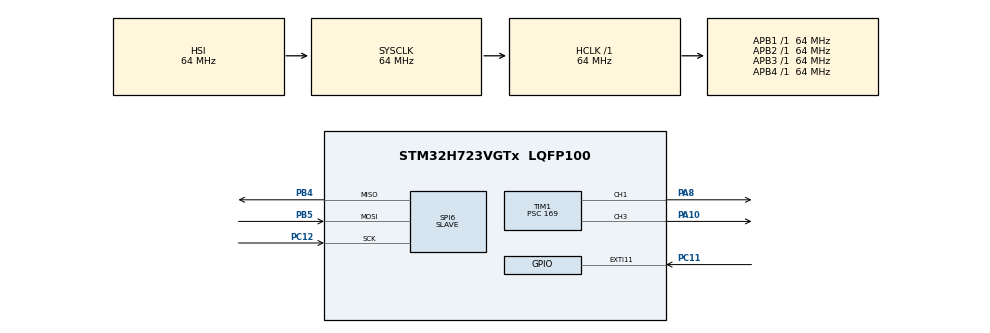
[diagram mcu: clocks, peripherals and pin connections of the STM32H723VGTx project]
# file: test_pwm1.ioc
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CORTEX_M7.default_mode_Activation=1
Mcu.Family=STM32H7
Mcu.Name=STM32H723VGTx
Mcu.Package=LQFP100
NVIC.EXTI15_10_IRQn=true\:0\:0\:false\:false\:true\:true\:true\:true
NVIC.PriorityGroup=NVIC_PRIORITYGROUP_4
NVIC.SPI6_IRQn=true\:0\:0\:false\:false\:true\:true\:true\:true
PA10.Signal=S_TIM1_CH3
PA8.Signal=S_TIM1_CH1
PB4(NJTRST).Mode=Full_Duplex_Slave
PB4(NJTRST).Signal=SPI6_MISO
PB5.Mode=Full_Duplex_Slave
PB5.Signal=SPI6_MOSI
PC11.GPIO_ModeDefaultEXTI=GPIO_MODE_IT_FALLING
PC11.GPIO_PuPd=GPIO_PULLUP
PC11.Signal=GPXTI11
PC12.Mode=Full_Duplex_Slave
PC12.Signal=SPI6_SCK
ProjectManager.HeapSize=0x200
ProjectManager.StackSize=0x400
ProjectManager.TargetToolchain=STM32CubeIDE
RCC.ADCFreq_Value=129000000
RCC.APB1Freq_Value=64000000
RCC.APB2Freq_Value=64000000
RCC.APB3Freq_Value=64000000
RCC.APB4Freq_Value=64000000
RCC.CortexFreq_Value=64000000
RCC.HCLKFreq_Value=64000000
RCC.SYSCLKFreq_VALUE=64000000
RCC.USBFreq_Value=129000000
SH.S_TIM1_CH1.0=TIM1_CH1,PWM Generation1 CH1
SH.S_TIM1_CH3.0=TIM1_CH3,PWM Generation3 CH3
SPI6.DataSize=SPI_DATASIZE_8BIT
SPI6.Direction=SPI_DIRECTION_2LINES
SPI6.Mode=SPI_MODE_SLAVE
SPI6.VirtualType=VM_SLAVE
TIM1.Channel-PWM\ Generation1\ CH1=TIM_CHANNEL_1
TIM1.Channel-PWM\ Generation3\ CH3=TIM_CHANNEL_3
TIM1.Period=999
TIM1.Prescaler=169
TIM1.Pulse-PWM\ Generation3\ CH3=500
VP_MEMORYMAP_VS_MEMORYMAP.Mode=CurAppReg
board=custom

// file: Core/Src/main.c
/* USER CODE BEGIN Header */
/**
  ******************************************************************************
  * @file           : main.c
  * @brief          : Main program body
  ******************************************************************************
  * @attention
  *
  * Copyright (c) 2025 STMicroelectronics.
  * All rights reserved.
  *
  * This software is licensed under terms that can be found in the LICENSE file
  * in the root directory of this software component.
  * If no LICENSE file comes with this software, it is provided AS-IS.
  *
  ******************************************************************************
  */
/* USER CODE END Header */
#include "main.h"

SPI_HandleTypeDef hspi6;

TIM_HandleTypeDef htim1;

void SystemClock_Config(void);
static void MPU_Config(void);
static void MX_GPIO_Init(void);
static void MX_SPI6_Init(void);
static void MX_TIM1_Init(void);

/* USER CODE BEGIN 0 */

// Buffer de 2 bytes: [comando, valor]
uint8_t spi_rx_buf[3];
uint8_t spi_tx_buf[3] = {0xFF, 0xFF, 0xFF};  // respuesta que mandaremos

// Opcional: guarda último duty y freq

uint8_t  duty_ch1 = 50;   // PA8 duty default
uint8_t  duty_ch3 = 50;   // PA10 duty default

uint8_t last_duty = 50;  // 50% por defecto
uint16_t last_freq = 1000;   // 1 kHz por defecto

/* USER CODE END 0 */

int main(void)
{

  /* MPU Configuration--------------------------------------------------------*/
  MPU_Config();

  /* MCU Configuration--------------------------------------------------------*/

  /* Reset of all peripherals, Initializes the Flash interface and the Systick. */
  HAL_Init();

  /* Configure the system clock */
  SystemClock_Config();

  /* Initialize all configured peripherals */
  MX_GPIO_Init();
  MX_SPI6_Init();
  MX_TIM1_Init();
  /* USER CODE BEGIN 2 */
  //HAL_SPI_Receive_IT(&hspi6, &spi_rx_byte, 1);
  // Preparamos una primera recepción SPI en modo interrupción (slave)
  //HAL_GPIO_WritePin(GPIOA, GPIO_PIN_10, GPIO_PIN_RESET);

  // Opcional: asegurarte de que la PWM empieza apagada
  HAL_TIM_PWM_Stop(&htim1, TIM_CHANNEL_1);
  HAL_TIM_PWM_Stop(&htim1, TIM_CHANNEL_3);

  // Funciones para cambiar duty y frecuencia
  //PWM_SetDutyPercent(last_duty);
  PWM_SetDuty(TIM_CHANNEL_1, duty_ch1);
  PWM_SetDuty(TIM_CHANNEL_3, duty_ch3);
  PWM_SetFrequencyHz(last_freq);

  // Mensaje inicial que mandaremos en la PRIMER transferencia (basura útil)
  spi_tx_buf[0] = 0x00;
  spi_tx_buf[1] = duty_ch1;
  spi_tx_buf[2] = duty_ch3;

  // Iniciar recepción SPI6 por interrupción (1 byte)
  if (HAL_SPI_TransmitReceive_IT(&hspi6, spi_tx_buf, spi_rx_buf, 3) != HAL_OK)
  {
      Error_Handler();
  }
  /* USER CODE END 2 */

  /* Infinite loop */
  while (1)
  {

  }
}

void SystemClock_Config(void)
{
  RCC_OscInitTypeDef RCC_OscInitStruct = {0};
  RCC_ClkInitTypeDef RCC_ClkInitStruct = {0};

  /** Supply configuration update enable
  */
  HAL_PWREx_ConfigSupply(PWR_LDO_SUPPLY);

  /** Configure the main internal regulator output voltage
  */
  __HAL_PWR_VOLTAGESCALING_CONFIG(PWR_REGULATOR_VOLTAGE_SCALE3);

  while(!__HAL_PWR_GET_FLAG(PWR_FLAG_VOSRDY)) {}

  /** Initializes the RCC Oscillators according to the specified parameters
  * in the RCC_OscInitTypeDef structure.
  */
  RCC_OscInitStruct.OscillatorType = RCC_OSCILLATORTYPE_HSI;
  RCC_OscInitStruct.HSIState = RCC_HSI_DIV1;
  RCC_OscInitStruct.HSICalibrationValue = 64;
  RCC_OscInitStruct.PLL.PLLState = RCC_PLL_NONE;
  if (HAL_RCC_OscConfig(&RCC_OscInitStruct) != HAL_OK)
  {
    Error_Handler();
  }

  /** Initializes the CPU, AHB and APB buses clocks
  */
  RCC_ClkInitStruct.ClockType = RCC_CLOCKTYPE_HCLK|RCC_CLOCKTYPE_SYSCLK
                              |RCC_CLOCKTYPE_PCLK1|RCC_CLOCKTYPE_PCLK2
                              |RCC_CLOCKTYPE_D3PCLK1|RCC_CLOCKTYPE_D1PCLK1;
  RCC_ClkInitStruct.SYSCLKSource = RCC_SYSCLKSOURCE_HSI;
  RCC_ClkInitStruct.SYSCLKDivider = RCC_SYSCLK_DIV1;
  RCC_ClkInitStruct.AHBCLKDivider = RCC_HCLK_DIV1;
  RCC_ClkInitStruct.APB3CLKDivider = RCC_APB3_DIV1;
  RCC_ClkInitStruct.APB1CLKDivider = RCC_APB1_DIV1;
  RCC_ClkInitStruct.APB2CLKDivider = RCC_APB2_DIV1;
  RCC_ClkInitStruct.APB4CLKDivider = RCC_APB4_DIV1;

  if (HAL_RCC_ClockConfig(&RCC_ClkInitStruct, FLASH_LATENCY_1) != HAL_OK)
  {
    Error_Handler();
  }
}

static void MX_SPI6_Init(void)
{

  /* SPI6 parameter configuration*/
  hspi6.Instance = SPI6;
  hspi6.Init.Mode = SPI_MODE_SLAVE;
  hspi6.Init.Direction = SPI_DIRECTION_2LINES;
  hspi6.Init.DataSize = SPI_DATASIZE_8BIT;
  hspi6.Init.CLKPolarity = SPI_POLARITY_LOW;
  hspi6.Init.CLKPhase = SPI_PHASE_1EDGE;
  hspi6.Init.NSS = SPI_NSS_SOFT;
  hspi6.Init.FirstBit = SPI_FIRSTBIT_MSB;
  hspi6.Init.TIMode = SPI_TIMODE_DISABLE;
  hspi6.Init.CRCCalculation = SPI_CRCCALCULATION_DISABLE;
  hspi6.Init.CRCPolynomial = 0x0;
  hspi6.Init.NSSPMode = SPI_NSS_PULSE_DISABLE;
  hspi6.Init.NSSPolarity = SPI_NSS_POLARITY_LOW;
  hspi6.Init.FifoThreshold = SPI_FIFO_THRESHOLD_01DATA;
  hspi6.Init.TxCRCInitializationPattern = SPI_CRC_INITIALIZATION_ALL_ZERO_PATTERN;
  hspi6.Init.RxCRCInitializationPattern = SPI_CRC_INITIALIZATION_ALL_ZERO_PATTERN;
  hspi6.Init.MasterSSIdleness = SPI_MASTER_SS_IDLENESS_00CYCLE;
  hspi6.Init.MasterInterDataIdleness = SPI_MASTER_INTERDATA_IDLENESS_00CYCLE;
  hspi6.Init.MasterReceiverAutoSusp = SPI_MASTER_RX_AUTOSUSP_DISABLE;
  hspi6.Init.MasterKeepIOState = SPI_MASTER_KEEP_IO_STATE_DISABLE;
  hspi6.Init.IOSwap = SPI_IO_SWAP_DISABLE;
  if (HAL_SPI_Init(&hspi6) != HAL_OK)
  {
    Error_Handler();
  }

}

static void MX_TIM1_Init(void)
{

  TIM_MasterConfigTypeDef sMasterConfig = {0};
  TIM_OC_InitTypeDef sConfigOC = {0};
  TIM_BreakDeadTimeConfigTypeDef sBreakDeadTimeConfig = {0};

  htim1.Instance = TIM1;
  htim1.Init.Prescaler = 169;
  htim1.Init.CounterMode = TIM_COUNTERMODE_UP;
  htim1.Init.Period = 999;
  htim1.Init.ClockDivision = TIM_CLOCKDIVISION_DIV1;
  htim1.Init.RepetitionCounter = 0;
  htim1.Init.AutoReloadPreload = TIM_AUTORELOAD_PRELOAD_DISABLE;
  if (HAL_TIM_PWM_Init(&htim1) != HAL_OK)
  {
    Error_Handler();
  }
  sMasterConfig.MasterOutputTrigger = TIM_TRGO_RESET;
  sMasterConfig.MasterOutputTrigger2 = TIM_TRGO2_RESET;
  sMasterConfig.MasterSlaveMode = TIM_MASTERSLAVEMODE_DISABLE;
  if (HAL_TIMEx_MasterConfigSynchronization(&htim1, &sMasterConfig) != HAL_OK)
  {
    Error_Handler();
  }
  sConfigOC.OCMode = TIM_OCMODE_PWM1;
  sConfigOC.Pulse = 0;
  sConfigOC.OCPolarity = TIM_OCPOLARITY_HIGH;
  sConfigOC.OCNPolarity = TIM_OCNPOLARITY_HIGH;
  sConfigOC.OCFastMode = TIM_OCFAST_DISABLE;
  sConfigOC.OCIdleState = TIM_OCIDLESTATE_RESET;
  sConfigOC.OCNIdleState = TIM_OCNIDLESTATE_RESET;
  if (HAL_TIM_PWM_ConfigChannel(&htim1, &sConfigOC, TIM_CHANNEL_1) != HAL_OK)
  {
    Error_Handler();
  }
  sConfigOC.Pulse = 500;
  if (HAL_TIM_PWM_ConfigChannel(&htim1, &sConfigOC, TIM_CHANNEL_3) != HAL_OK)
  {
    Error_Handler();
  }
  sBreakDeadTimeConfig.OffStateRunMode = TIM_OSSR_DISABLE;
  sBreakDeadTimeConfig.OffStateIDLEMode = TIM_OSSI_DISABLE;
  sBreakDeadTimeConfig.LockLevel = TIM_LOCKLEVEL_OFF;
  sBreakDeadTimeConfig.DeadTime = 0;
  sBreakDeadTimeConfig.BreakState = TIM_BREAK_DISABLE;
  sBreakDeadTimeConfig.BreakPolarity = TIM_BREAKPOLARITY_HIGH;
  sBreakDeadTimeConfig.BreakFilter = 0;
  sBreakDeadTimeConfig.Break2State = TIM_BREAK2_DISABLE;
  sBreakDeadTimeConfig.Break2Polarity = TIM_BREAK2POLARITY_HIGH;
  sBreakDeadTimeConfig.Break2Filter = 0;
  sBreakDeadTimeConfig.AutomaticOutput = TIM_AUTOMATICOUTPUT_DISABLE;
  if (HAL_TIMEx_ConfigBreakDeadTime(&htim1, &sBreakDeadTimeConfig) != HAL_OK)
  {
    Error_Handler();
  }
  HAL_TIM_MspPostInit(&htim1);

}

static void MX_GPIO_Init(void)
{
  GPIO_InitTypeDef GPIO_InitStruct = {0};

  /* GPIO Ports Clock Enable */
  __HAL_RCC_GPIOA_CLK_ENABLE();
  __HAL_RCC_GPIOC_CLK_ENABLE();
  __HAL_RCC_GPIOB_CLK_ENABLE();

  /*Configure GPIO pin : PC11 */
  GPIO_InitStruct.Pin = GPIO_PIN_11;
  GPIO_InitStruct.Mode = GPIO_MODE_IT_FALLING;
  GPIO_InitStruct.Pull = GPIO_PULLUP;
  HAL_GPIO_Init(GPIOC, &GPIO_InitStruct);

  /* EXTI interrupt init*/
  HAL_NVIC_SetPriority(EXTI15_10_IRQn, 0, 0);
  HAL_NVIC_EnableIRQ(EXTI15_10_IRQn);

}

/* USER CODE BEGIN 4 */
void PWM_SetDuty(uint32_t channel, uint8_t duty)
{
    if (duty > 100) duty = 100;
    uint32_t period = __HAL_TIM_GET_AUTORELOAD(&htim1);
    uint32_t pulse  = (uint32_t)duty * (period + 1) / 100;

    __HAL_TIM_SET_COMPARE(&htim1, channel, pulse);

    if (channel == TIM_CHANNEL_1) duty_ch1 = duty;
    if (channel == TIM_CHANNEL_3) duty_ch3 = duty;
}

void PWM_SetFrequencyHz(uint16_t freq_hz)
{
    if (freq_hz < 20)    freq_hz = 20;
    if (freq_hz > 20000) freq_hz = 20000;

    last_freq = freq_hz;

    uint32_t tim_clk = 1000000; // 1 MHz (por prescaler=169)
    uint32_t period  = (tim_clk / freq_hz) - 1;

    HAL_TIM_PWM_Stop(&htim1, TIM_CHANNEL_1);
    HAL_TIM_PWM_Stop(&htim1, TIM_CHANNEL_3);

    __HAL_TIM_SET_AUTORELOAD(&htim1, period);

    PWM_SetDuty(TIM_CHANNEL_1, duty_ch1);
    PWM_SetDuty(TIM_CHANNEL_3, duty_ch3);

    HAL_TIM_PWM_Start(&htim1, TIM_CHANNEL_1);
    HAL_TIM_PWM_Start(&htim1, TIM_CHANNEL_3);
}

void HAL_SPI_TxRxCpltCallback(SPI_HandleTypeDef *hspi)
{
    if (hspi->Instance == SPI6)
    {
        uint8_t  cmd = spi_rx_buf[0];
        uint8_t  d1  = spi_rx_buf[1];
        uint8_t  d2  = spi_rx_buf[2];
        uint16_t val = ((uint16_t)d1 << 8) | d2;

        // --- Procesar el comando recibido ---
        switch (cmd)
        {
            case 0xA0:  // PA10: duty + ON
                PWM_SetDuty(TIM_CHANNEL_3, d1);
                HAL_TIM_PWM_Start(&htim1, TIM_CHANNEL_3);
                break;

            case 0xA1:  // PA10 OFF
                HAL_TIM_PWM_Stop(&htim1, TIM_CHANNEL_3);
                break;

            case 0xB0:  // PA8: duty + ON
                PWM_SetDuty(TIM_CHANNEL_1, d1);
                HAL_TIM_PWM_Start(&htim1, TIM_CHANNEL_1);
                break;

            case 0xB1:  // PA8 OFF
                HAL_TIM_PWM_Stop(&htim1, TIM_CHANNEL_1);
                break;

            case 0xA2:  // Frecuencia
                PWM_SetFrequencyHz(val);
                break;

            default:
                // comando desconocido
                break;
        }

        // --- Preparar la respuesta para la PRÓXIMA transferencia ---
        // Por ejemplo: [último comando válido, duty_ch1, duty_ch3]
        spi_tx_buf[0] = cmd;
        spi_tx_buf[1] = duty_ch1;
        spi_tx_buf[2] = duty_ch3;

        // Relanzar otra transacción full-duplex
        if (HAL_SPI_TransmitReceive_IT(&hspi6, spi_tx_buf, spi_rx_buf, 3) != HAL_OK)
        {
            Error_Handler();
        }
    }
}

/* USER CODE END 4 */

 /* MPU Configuration */

void MPU_Config(void)
{
  MPU_Region_InitTypeDef MPU_InitStruct = {0};

  /* Disables the MPU */
  HAL_MPU_Disable();

  /** Initializes and configures the Region and the memory to be protected
  */
  MPU_InitStruct.Enable = MPU_REGION_ENABLE;
  MPU_InitStruct.Number = MPU_REGION_NUMBER0;
  MPU_InitStruct.BaseAddress = 0x0;
  MPU_InitStruct.Size = MPU_REGION_SIZE_4GB;
  MPU_InitStruct.SubRegionDisable = 0x87;
  MPU_InitStruct.TypeExtField = MPU_TEX_LEVEL0;
  MPU_InitStruct.AccessPermission = MPU_REGION_NO_ACCESS;
  MPU_InitStruct.DisableExec = MPU_INSTRUCTION_ACCESS_DISABLE;
  MPU_InitStruct.IsShareable = MPU_ACCESS_SHAREABLE;
  MPU_InitStruct.IsCacheable = MPU_ACCESS_NOT_CACHEABLE;
  MPU_InitStruct.IsBufferable = MPU_ACCESS_NOT_BUFFERABLE;

  HAL_MPU_ConfigRegion(&MPU_InitStruct);
  /* Enables the MPU */
  HAL_MPU_Enable(MPU_PRIVILEGED_DEFAULT);

}

void Error_Handler(void)
{
  __disable_irq();
  while (1)
  {
  }
}
